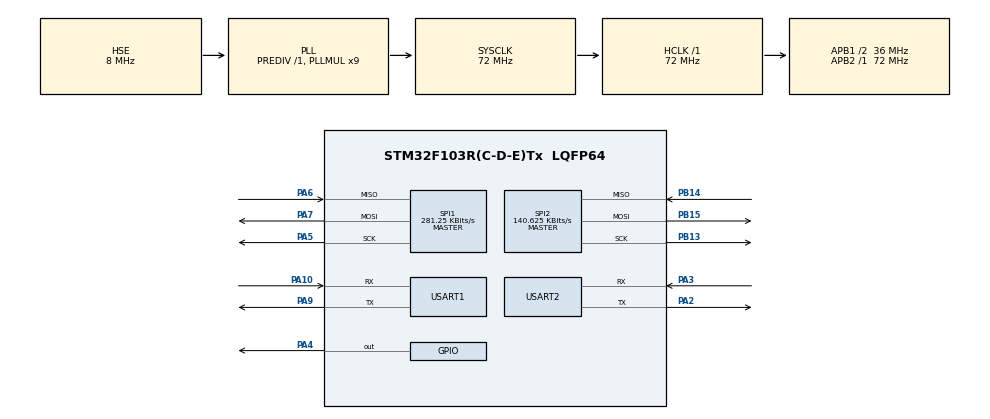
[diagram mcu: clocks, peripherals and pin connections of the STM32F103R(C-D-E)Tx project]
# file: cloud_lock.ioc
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Mcu.Family=STM32F1
Mcu.Name=STM32F103R(C-D-E)Tx
Mcu.Package=LQFP64
NVIC.PriorityGroup=NVIC_PRIORITYGROUP_4
NVIC.RTC_IRQn=true\:0\:0\:false\:false\:true\:true\:true\:true
NVIC.SPI1_IRQn=true\:0\:0\:false\:false\:true\:true\:true\:true
NVIC.SPI2_IRQn=true\:0\:0\:false\:false\:true\:true\:true\:true
NVIC.USART1_IRQn=true\:0\:0\:false\:false\:true\:true\:true\:true
NVIC.USART2_IRQn=true\:0\:0\:false\:false\:true\:true\:true\:true
PA10.Mode=Asynchronous
PA10.Signal=USART1_RX
PA2.Mode=Asynchronous
PA2.Signal=USART2_TX
PA3.Mode=Asynchronous
PA3.Signal=USART2_RX
PA4.Signal=GPIO_Output
PA5.Mode=Full_Duplex_Master
PA5.Signal=SPI1_SCK
PA6.Mode=Full_Duplex_Master
PA6.Signal=SPI1_MISO
PA7.Mode=Full_Duplex_Master
PA7.Signal=SPI1_MOSI
PA9.Mode=Asynchronous
PA9.Signal=USART1_TX
PB13.Mode=Full_Duplex_Master
PB13.Signal=SPI2_SCK
PB14.Mode=Full_Duplex_Master
PB14.Signal=SPI2_MISO
PB15.Mode=Full_Duplex_Master
PB15.Signal=SPI2_MOSI
PC14-OSC32_IN.Mode=LSE-External-Oscillator
PC14-OSC32_IN.Signal=RCC_OSC32_IN
PC15-OSC32_OUT.Mode=LSE-External-Oscillator
PC15-OSC32_OUT.Signal=RCC_OSC32_OUT
PD0-OSC_IN.Mode=HSE-External-Oscillator
PD0-OSC_IN.Signal=RCC_OSC_IN
PD1-OSC_OUT.Mode=HSE-External-Oscillator
PD1-OSC_OUT.Signal=RCC_OSC_OUT
ProjectManager.HeapSize=0x200
ProjectManager.StackSize=0x1000
ProjectManager.TargetToolchain=SW4STM32
RCC.AHBFreq_Value=72000000
RCC.APB1CLKDivider=RCC_HCLK_DIV2
RCC.APB1Freq_Value=36000000
RCC.APB1TimFreq_Value=72000000
RCC.APB2Freq_Value=72000000
RCC.APB2TimFreq_Value=72000000
RCC.HCLKFreq_Value=72000000
RCC.PLLMUL=RCC_PLL_MUL9
RCC.PLLSourceVirtual=RCC_PLLSOURCE_HSE
RCC.RTCClockSelection=RCC_RTCCLKSOURCE_LSE
RCC.SYSCLKFreq_VALUE=72000000
RCC.SYSCLKSource=RCC_SYSCLKSOURCE_PLLCLK
RCC.USBFreq_Value=72000000
SPI1.BaudRatePrescaler=SPI_BAUDRATEPRESCALER_256
SPI1.CLKPhase=SPI_PHASE_2EDGE
SPI1.CLKPolarity=SPI_POLARITY_HIGH
SPI1.CRCCalculation=SPI_CRCCALCULATION_DISABLE
SPI1.CalculateBaudRate=281.25 KBits/s
SPI1.Direction=SPI_DIRECTION_2LINES
SPI1.Mode=SPI_MODE_MASTER
SPI1.VirtualType=VM_MASTER
SPI2.BaudRatePrescaler=SPI_BAUDRATEPRESCALER_256
SPI2.CLKPhase=SPI_PHASE_2EDGE
SPI2.CLKPolarity=SPI_POLARITY_HIGH
SPI2.CRCCalculation=SPI_CRCCALCULATION_DISABLE
SPI2.CalculateBaudRate=140.625 KBits/s
SPI2.Direction=SPI_DIRECTION_2LINES
SPI2.Mode=SPI_MODE_MASTER
SPI2.VirtualType=VM_MASTER
USART1.VirtualMode=VM_ASYNC
USART2.VirtualMode=VM_ASYNC
VP_CRC_VS_CRC.Mode=CRC_Activate
VP_RTC_No_RTC_Output.Mode=RTC_OUT_NO
VP_RTC_VS_RTC_Activate.Mode=RTC_Enabled
VP_RTC_VS_RTC_Calendar.Mode=RTC_Calendar
VP_SYS_VS_ND.Mode=No_Debug
board=custom

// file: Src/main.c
/* USER CODE BEGIN Header */
/**
  ******************************************************************************
  * @file           : main.c
  * @brief          : Main program body
  ******************************************************************************
  * @attention
  *
  * <h2><center>&copy; Copyright (c) 2023 STMicroelectronics.
  * All rights reserved.</center></h2>
  *
  * This software component is licensed by ST under BSD 3-Clause license,
  * the "License"; You may not use this file except in compliance with the
  * License. You may obtain a copy of the License at:
  *                        opensource.org/licenses/BSD-3-Clause
  *
  ******************************************************************************
  */
/* USER CODE END Header */
#include "main.h"

CRC_HandleTypeDef hcrc;

RTC_HandleTypeDef hrtc;

SPI_HandleTypeDef hspi1;
SPI_HandleTypeDef hspi2;

UART_HandleTypeDef huart1;
UART_HandleTypeDef huart2;

/* USER CODE BEGIN PV */
FATFS fatfs;
FIL CONF_FILE;
FRESULT res_f;
/* USER CODE END PV */

void SystemClock_Config(void);

static void MX_CRC_Init(void);

static void MX_GPIO_Init(void);

static void MX_USART1_UART_Init(void);

static void MX_USART2_UART_Init(void);

static void MX_SPI1_Init(void);

static void MX_SPI2_Init(void);

static void MX_RTC_Init(void);

/* USER CODE BEGIN 0 */
void USART1_Tx_String(char *str) {
    HAL_UART_Transmit(&huart1, (uint8_t *) str, strlen(str), HAL_MAX_DELAY);
}

void USART2_Tx_String(char *str) {
    HAL_UART_Transmit(&huart2, (uint8_t *) str, strlen(str), HAL_MAX_DELAY);
}

void OLED_display_home_page() {
    OLED_CLR();
    OLED_DISPLAY_ZH_CN(32, 2, 12);
    OLED_DISPLAY_ZH_CN(48, 2, 13);
    OLED_DISPLAY_ZH_CN(64, 2, 14);
    OLED_DISPLAY_ZH_CN(80, 2, 15);
}

void OLED_display_enter_pwd() {
    OLED_CLR();
    unsigned char pwd_txt_arr[6] = {0, 1, 2, 3, 4, 5};
    OLED_DISPLAY_ZH_CN_ARR(0, 2, pwd_txt_arr, 6);
    OLED_DISPLAY_CHAR(96, 2, ':', 16);

    OLED_DISPLAY_STR(0, 6, (unsigned char *) "[#]", 16);
    OLED_DISPLAY_ZH_CN(24, 6, 6);
    OLED_DISPLAY_ZH_CN(40, 6, 7);

    OLED_DISPLAY_STR(66, 6, (unsigned char *) "[*]", 16);
    OLED_DISPLAY_ZH_CN(90, 6, 8);
    OLED_DISPLAY_ZH_CN(106, 6, 9);
}

void enter_pwd() {
    unsigned char key;
    unsigned char pwd_chr_w = 0x08;
    unsigned char pwd_cur = 0;
    unsigned char pwd[6] = {0xff, 0xff, 0xff, 0xff, 0xff, 0xff};
    OLED_display_enter_pwd();
    while (1) {
        key = TTP_SCAN();
        if ((key >= '0' && key <= '9') && pwd_cur <= 5) {
            OLED_DISPLAY_CHAR(pwd_cur * pwd_chr_w, 4, key, 16);
            pwd[pwd_cur] = key;
            delay_ms(100);
            pwd_cur++;
        } else {
            if (key == '*') {
                if (pwd_cur > 0) {
                    pwd_cur--;
                } else {
                    return;
                }
                pwd[pwd_cur] = 0xff;
                OLED_DISPLAY_CHAR(pwd_cur * pwd_chr_w, 4, ' ', 16);
                delay_ms(100);
            }
        }
    }
}
/* USER CODE END 0 */

int main(void) {
    /* USER CODE BEGIN 1 */
    unsigned char key;
    unsigned char CT[MAX_LEN + 1];
    unsigned char SN[4];
    unsigned char status;
    /* USER CODE END 1 */

    /* MCU Configuration--------------------------------------------------------*/

    /* Reset of all peripherals, Initializes the Flash interface and the Systick. */
    HAL_Init();

    /* USER CODE BEGIN Init */
    delay_init();
    /* USER CODE END Init */

    /* Configure the system clock */
    SystemClock_Config();

    /* USER CODE BEGIN SysInit */
    RFID_INIT_GPIO();
    SD_GPIO_Configuration();
    /* USER CODE END SysInit */

    /* Initialize all configured peripherals */
    MX_CRC_Init();
    MX_GPIO_Init();
    MX_USART1_UART_Init();
    MX_USART2_UART_Init();
    MX_SPI1_Init();
    MX_SPI2_Init();
    MX_RTC_Init();
    /* USER CODE BEGIN 2 */
    OLED_INIT();
    TTP_INIT();
    RFID_INIT();
    res_f = f_mount(&fatfs, "0:", 1);
    if (res_f) {
        OLED_DISPLAY_STR(0, 0, (unsigned char *) "SD card Err", 16);
        OLED_DISPLAY_HEX(0, 2, res_f);
        Error_Handler();
    }
    res_f = f_open(&CONF_FILE, "0:config.ini", FA_OPEN_EXISTING | FA_READ);
    if (res_f) {
        OLED_DISPLAY_STR(0, 0, (unsigned char *) "Read file Err", 16);
        OLED_DISPLAY_HEX(0, 2, res_f);
        Error_Handler();
    }
    ESP8266_INIT();
    OLED_display_home_page();
    RTC_TimeTypeDef rtcTimeTypeDef;
    RTC_DateTypeDef rtcDateTypeDef;
    /* USER CODE END 2 */

    /* Infinite loop */
    while (1) {

        /* USER CODE BEGIN 3 */
        status = RFID_REQ(PICC_REQIDL, CT);
        if (status == MI_OK) {
            status = MI_ERR;
            status = RFID_ANTI_COLL(SN);
            if (status == MI_OK) {
                OLED_DISPLAY_ZH_CN(0, 0, 10);
                OLED_DISPLAY_ZH_CN(16, 0, 11);
                OLED_DISPLAY_CHAR(32, 0, ':', 16);
                OLED_DISPLAY_HEX_ARR(40, 0, SN, 4);
            } else {
                OLED_DISPLAY_HEX(0, 0, status);
            }
            RFID_WAIT_CARD();
        } else {
            OLED_CLR_ROW(0);
        }
        HAL_RTC_GetTime(&hrtc, &rtcTimeTypeDef, RTC_FORMAT_BIN);
        HAL_RTC_GetDate(&hrtc, &rtcDateTypeDef, RTC_FORMAT_BIN);
        char time[15];
        sprintf(time, "%02d-%02d %02d:%02d:%02d",
                rtcDateTypeDef.Month,
                rtcDateTypeDef.Date,
                rtcTimeTypeDef.Hours,
                rtcTimeTypeDef.Minutes,
                rtcTimeTypeDef.Seconds);
        OLED_DISPLAY_STR(4, 6, (unsigned char *) time, 16);
        key = TTP_SCAN();
        if ((key >= '0' && key <= '9') || key == '#') {
            enter_pwd();
            delay_ms(100);
            key = '*';
        }
        if (key == '*') {
            OLED_display_home_page();
        }
        delay_ms(100);
        /* USER CODE END WHILE */
    }
    /* USER CODE END 3 */
}

void SystemClock_Config(void) {
    RCC_OscInitTypeDef RCC_OscInitStruct = {0};
    RCC_ClkInitTypeDef RCC_ClkInitStruct = {0};
    RCC_PeriphCLKInitTypeDef PeriphClkInit = {0};

    /** Initializes the RCC Oscillators according to the specified parameters
    * in the RCC_OscInitTypeDef structure.
    */
    RCC_OscInitStruct.OscillatorType = RCC_OSCILLATORTYPE_HSE | RCC_OSCILLATORTYPE_LSE;
    RCC_OscInitStruct.HSEState = RCC_HSE_ON;
    RCC_OscInitStruct.HSEPredivValue = RCC_HSE_PREDIV_DIV1;
    RCC_OscInitStruct.LSEState = RCC_LSE_ON;
    RCC_OscInitStruct.HSIState = RCC_HSI_ON;
    RCC_OscInitStruct.PLL.PLLState = RCC_PLL_ON;
    RCC_OscInitStruct.PLL.PLLSource = RCC_PLLSOURCE_HSE;
    RCC_OscInitStruct.PLL.PLLMUL = RCC_PLL_MUL9;
    if (HAL_RCC_OscConfig(&RCC_OscInitStruct) != HAL_OK) {
        Error_Handler();
    }

    /** Initializes the CPU, AHB and APB buses clocks
    */
    RCC_ClkInitStruct.ClockType = RCC_CLOCKTYPE_HCLK | RCC_CLOCKTYPE_SYSCLK
                                  | RCC_CLOCKTYPE_PCLK1 | RCC_CLOCKTYPE_PCLK2;
    RCC_ClkInitStruct.SYSCLKSource = RCC_SYSCLKSOURCE_PLLCLK;
    RCC_ClkInitStruct.AHBCLKDivider = RCC_SYSCLK_DIV1;
    RCC_ClkInitStruct.APB1CLKDivider = RCC_HCLK_DIV2;
    RCC_ClkInitStruct.APB2CLKDivider = RCC_HCLK_DIV1;

    if (HAL_RCC_ClockConfig(&RCC_ClkInitStruct, FLASH_LATENCY_2) != HAL_OK) {
        Error_Handler();
    }
    PeriphClkInit.PeriphClockSelection = RCC_PERIPHCLK_RTC;
    PeriphClkInit.RTCClockSelection = RCC_RTCCLKSOURCE_LSE;
    if (HAL_RCCEx_PeriphCLKConfig(&PeriphClkInit) != HAL_OK) {
        Error_Handler();
    }
}

static void MX_CRC_Init(void) {

    hcrc.Instance = CRC;
    if (HAL_CRC_Init(&hcrc) != HAL_OK) {
        Error_Handler();
    }

}

static void MX_RTC_Init(void) {

    RTC_TimeTypeDef sTime = {0};
    RTC_DateTypeDef DateToUpdate = {0};

    /** Initialize RTC Only
    */
    hrtc.Instance = RTC;
    hrtc.Init.AsynchPrediv = RTC_AUTO_1_SECOND;
    hrtc.Init.OutPut = RTC_OUTPUTSOURCE_NONE;
    if (HAL_RTC_Init(&hrtc) != HAL_OK) {
        Error_Handler();
    }

    /* USER CODE BEGIN Check_RTC_BKUP */
    __HAL_RCC_PWR_CLK_ENABLE();
    __HAL_RCC_BKP_CLK_ENABLE();
    if (HAL_RTCEx_BKUPRead(&hrtc, RTC_BKP_DR1) != 0x5011) {
        HAL_RTCEx_BKUPWrite(&hrtc, RTC_BKP_DR1, 0x5011);
        /* USER CODE END Check_RTC_BKUP */

        /** Initialize RTC and set the Time and Date
        */
        sTime.Hours = 0x0;
        sTime.Minutes = 0x0;
        sTime.Seconds = 0x0;

        if (HAL_RTC_SetTime(&hrtc, &sTime, RTC_FORMAT_BCD) != HAL_OK) {
            Error_Handler();
        }
        DateToUpdate.WeekDay = RTC_WEEKDAY_MONDAY;
        DateToUpdate.Month = RTC_MONTH_JANUARY;
        DateToUpdate.Date = 0x1;
        DateToUpdate.Year = 0x0;

        if (HAL_RTC_SetDate(&hrtc, &DateToUpdate, RTC_FORMAT_BCD) != HAL_OK) {
            Error_Handler();
        }
        /* USER CODE BEGIN RTC_Init 2 */
    }
    __HAL_RTC_SECOND_ENABLE_IT(&hrtc, RTC_IT_SEC);
    __HAL_RCC_RTC_ENABLE();
    /* USER CODE END RTC_Init 2 */

}

static void MX_SPI1_Init(void) {

    /* USER CODE BEGIN SPI1_Init 0 */
    __HAL_RCC_SPI1_CLK_ENABLE();
    /* USER CODE END SPI1_Init 0 */

    /* SPI1 parameter configuration*/
    hspi1.Instance = SPI1;
    hspi1.Init.Mode = SPI_MODE_MASTER;
    hspi1.Init.Direction = SPI_DIRECTION_2LINES;
    hspi1.Init.DataSize = SPI_DATASIZE_8BIT;
    hspi1.Init.CLKPolarity = SPI_POLARITY_HIGH;
    hspi1.Init.CLKPhase = SPI_PHASE_2EDGE;
    hspi1.Init.NSS = SPI_NSS_SOFT;
    hspi1.Init.BaudRatePrescaler = SPI_BAUDRATEPRESCALER_256;
    hspi1.Init.FirstBit = SPI_FIRSTBIT_MSB;
    hspi1.Init.TIMode = SPI_TIMODE_DISABLE;
    hspi1.Init.CRCCalculation = SPI_CRCCALCULATION_DISABLE;
    hspi1.Init.CRCPolynomial = 10;
    if (HAL_SPI_Init(&hspi1) != HAL_OK) {
        Error_Handler();
    }
    /* USER CODE BEGIN SPI1_Init 2 */
    __HAL_SPI_ENABLE(&hspi1);
    /* USER CODE END SPI1_Init 2 */

}

static void MX_SPI2_Init(void) {

    /* USER CODE BEGIN SPI2_Init 0 */
    __HAL_RCC_SPI2_CLK_ENABLE();
    /* USER CODE END SPI2_Init 0 */

    /* SPI2 parameter configuration*/
    hspi2.Instance = SPI2;
    hspi2.Init.Mode = SPI_MODE_MASTER;
    hspi2.Init.Direction = SPI_DIRECTION_2LINES;
    hspi2.Init.DataSize = SPI_DATASIZE_8BIT;
    hspi2.Init.CLKPolarity = SPI_POLARITY_HIGH;
    hspi2.Init.CLKPhase = SPI_PHASE_2EDGE;
    hspi2.Init.NSS = SPI_NSS_SOFT;
    hspi2.Init.BaudRatePrescaler = SPI_BAUDRATEPRESCALER_256;
    hspi2.Init.FirstBit = SPI_FIRSTBIT_MSB;
    hspi2.Init.TIMode = SPI_TIMODE_DISABLE;
    hspi2.Init.CRCCalculation = SPI_CRCCALCULATION_DISABLE;
    hspi2.Init.CRCPolynomial = 10;
    if (HAL_SPI_Init(&hspi2) != HAL_OK) {
        Error_Handler();
    }
    /* USER CODE BEGIN SPI2_Init 2 */
    __HAL_SPI_ENABLE(&hspi2);
    /* USER CODE END SPI2_Init 2 */

}

static void MX_USART1_UART_Init(void) {

    /* USER CODE BEGIN USART1_Init 0 */
    __HAL_RCC_USART1_CLK_ENABLE();
    /* USER CODE END USART1_Init 0 */

    huart1.Instance = USART1;
    huart1.Init.BaudRate = 115200;
    huart1.Init.WordLength = UART_WORDLENGTH_8B;
    huart1.Init.StopBits = UART_STOPBITS_1;
    huart1.Init.Parity = UART_PARITY_NONE;
    huart1.Init.Mode = UART_MODE_TX_RX;
    huart1.Init.HwFlowCtl = UART_HWCONTROL_NONE;
    huart1.Init.OverSampling = UART_OVERSAMPLING_16;
    if (HAL_UART_Init(&huart1) != HAL_OK) {
        Error_Handler();
    }

}

static void MX_USART2_UART_Init(void) {

    /* USER CODE BEGIN USART2_Init 0 */
    __HAL_RCC_USART2_CLK_ENABLE();
    /* USER CODE END USART2_Init 0 */

    huart2.Instance = USART2;
    huart2.Init.BaudRate = 115200;
    huart2.Init.WordLength = UART_WORDLENGTH_8B;
    huart2.Init.StopBits = UART_STOPBITS_1;
    huart2.Init.Parity = UART_PARITY_NONE;
    huart2.Init.Mode = UART_MODE_TX_RX;
    huart2.Init.HwFlowCtl = UART_HWCONTROL_NONE;
    huart2.Init.OverSampling = UART_OVERSAMPLING_16;
    if (HAL_UART_Init(&huart2) != HAL_OK) {
        Error_Handler();
    }

}

static void MX_GPIO_Init(void) {
    GPIO_InitTypeDef GPIO_InitStruct = {0};

    /* GPIO Ports Clock Enable */
    __HAL_RCC_GPIOC_CLK_ENABLE();
    __HAL_RCC_GPIOD_CLK_ENABLE();
    __HAL_RCC_GPIOA_CLK_ENABLE();
    __HAL_RCC_GPIOB_CLK_ENABLE();

    /*Configure GPIO pin Output Level */
    HAL_GPIO_WritePin(GPIOA, GPIO_PIN_4, GPIO_PIN_RESET);

    /*Configure GPIO pin : PA4 */
    GPIO_InitStruct.Pin = GPIO_PIN_4;
    GPIO_InitStruct.Mode = GPIO_MODE_OUTPUT_PP;
    GPIO_InitStruct.Pull = GPIO_NOPULL;
    GPIO_InitStruct.Speed = GPIO_SPEED_FREQ_LOW;
    HAL_GPIO_Init(GPIOA, &GPIO_InitStruct);

}

void Error_Handler(void) {
    __disable_irq();
    while (1) {
    }
}
